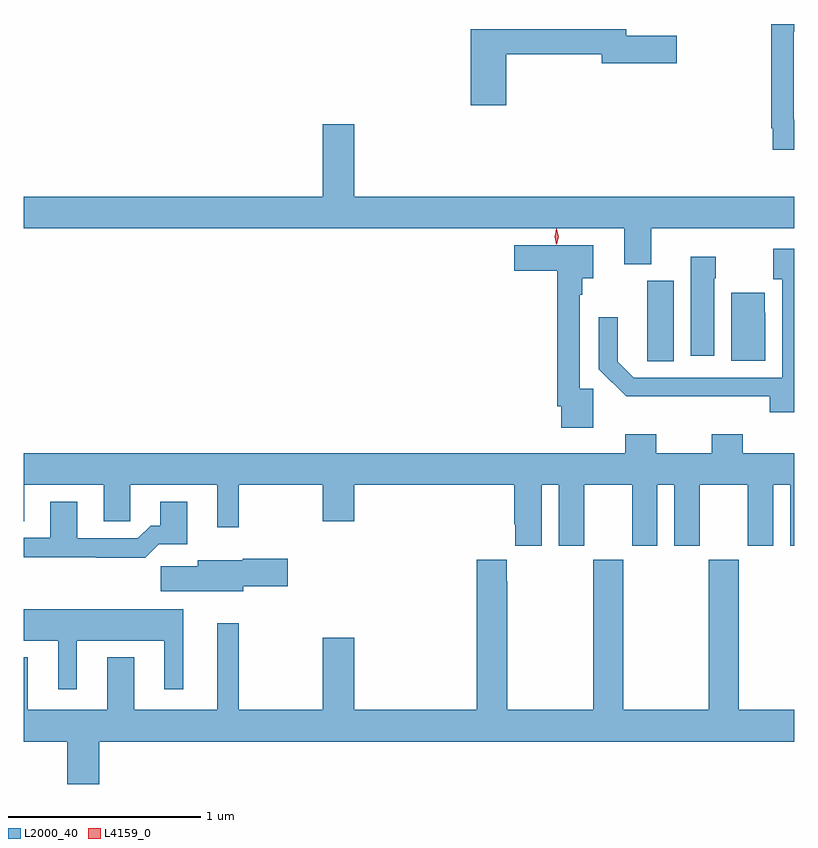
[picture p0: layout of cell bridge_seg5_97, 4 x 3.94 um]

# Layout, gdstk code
import gdstk
lib = gdstk.Library(unit=1e-6, precision=1e-09)
def P(c, l, *ps):  # polygons
    for p in ps: c.add(gdstk.Polygon(p, *l))
L2000_40 = (2000, 40)
L4159_0 = (4159, 0)

bridge_seg5_97 = lib.new_cell('bridge_seg5_97')
P(bridge_seg5_97, L2000_40, [(551.071,866.646),(551.067,866.646),(551.067,867.102),(551.071,867.102),(551.071,867.143),(550.951,867.143),(550.951,866.602),(550.959,866.602),(550.959,866.49),(551.071,866.49)],
  [(549.575,866.986),(550.07,866.986),(550.07,866.939),(550.459,866.939),(550.459,867.081),(550.198,867.081),(550.198,867.115),(549.392,867.115),(549.392,866.721),(549.575,866.721)],
  [(550.327,866.084),(551.071,866.084),(551.071,866.248),(548.788,866.248),(548.788,866.623),(548.624,866.623),(548.624,866.248),(547.071,866.248),(547.071,866.084),(550.187,866.084),(550.187,865.897),(550.327,865.897)],
  [(550.026,865.251),(549.957,865.251),(549.957,865.739),(549.97,865.739),(549.97,865.823),(550.027,865.823),(550.027,865.996),(549.618,865.996),(549.618,865.862),(549.841,865.862),(549.841,865.159),(549.86,865.159),(549.86,865.047),(550.026,865.047)],
  [(551.071,865.978),(550.961,865.978),(550.961,865.818),(551.007,865.818),(551.007,865.308),(550.236,865.308),(550.153,865.391),(550.153,865.621),(550.056,865.621),(550.056,865.352),(550.197,865.211),(550.943,865.211),(550.943,865.128),(551.071,865.128)],
  [(550.654,865.823),(550.662,865.823),(550.662,865.936),(550.532,865.936),(550.532,865.422),(550.654,865.422)],
  [(550.444,865.812),(550.307,865.812),(550.307,865.501),(550.308,865.501),(550.308,865.393),(550.444,865.393)],
  [(550.918,865.646),(550.917,865.646),(550.917,865.749),(550.742,865.749),(550.742,865.397),(550.918,865.397)],
  [(550.802,865.015),(550.642,865.015),(550.642,864.916),(550.353,864.916),(550.353,865.015),(550.193,865.015),(550.193,864.916),(547.071,864.916),(547.071,864.562),(547.075,864.562),(547.075,864.752),(547.487,864.752),(547.487,864.562),(547.626,864.562),(547.626,864.752),(548.075,864.752),(548.075,864.531),(548.189,864.531),(548.189,864.752),(548.624,864.752),(548.624,864.564),(548.788,864.564),(548.788,864.752),(549.617,864.752),(549.617,864.547),(549.623,864.547),(549.623,864.435),(549.76,864.435),(549.76,864.752),(549.848,864.752),(549.848,864.435),(549.979,864.435),(549.979,864.752),(550.229,864.752),(550.229,864.435),(550.36,864.435),(550.36,864.752),(550.448,864.752),(550.448,864.435),(550.579,864.435),(550.579,864.752),(550.829,864.752),(550.829,864.435),(550.96,864.435),(550.96,864.752),(551.048,864.752),(551.048,864.435),(551.071,864.435),(551.071,864.916),(550.802,864.916)],
  [(547.772,864.443),(547.921,864.443),(547.921,864.664),(547.781,864.664),(547.781,864.541),(547.732,864.541),(547.665,864.474),(547.351,864.474),(547.351,864.664),(547.211,864.664),(547.211,864.477),(547.071,864.477),(547.071,864.376),(547.447,864.376),(547.447,864.374),(547.703,864.374)],
  [(548.212,864.227),(548.443,864.227),(548.443,864.369),(548.208,864.369),(548.208,864.361),(547.976,864.361),(547.976,864.329),(547.782,864.329),(547.782,864.2),(548.212,864.2)],
  [(547.463,863.42),(551.071,863.42),(551.071,863.584),(550.782,863.584),(550.782,864.364),(550.627,864.364),(550.627,863.584),(550.182,863.584),(550.182,864.364),(550.027,864.364),(550.027,863.584),(549.582,863.584),(549.582,864.251),(549.577,864.251),(549.577,864.364),(549.422,864.364),(549.422,863.584),(548.788,863.584),(548.788,863.959),(548.624,863.959),(548.624,863.584),(548.189,863.584),(548.189,864.034),(548.075,864.034),(548.075,863.584),(547.645,863.584),(547.645,863.857),(547.505,863.857),(547.505,863.584),(547.093,863.584),(547.093,863.857),(547.071,863.857),(547.071,863.42),(547.297,863.42),(547.297,863.2),(547.463,863.2)],
  [(547.348,863.942),(547.802,863.942),(547.802,863.691),(547.9,863.691),(547.9,864.106),(547.071,864.106),(547.071,863.942),(547.25,863.942),(547.25,863.691),(547.348,863.691)])
P(bridge_seg5_97, L4159_0, [(549.837,866),(549.836,866.001),(549.827,866.04),(549.836,866.08),(549.837,866.08),(549.837,866.08),(549.847,866.04),(549.837,866.001)])

lib.write_gds('bridge_seg5_97.gds')
